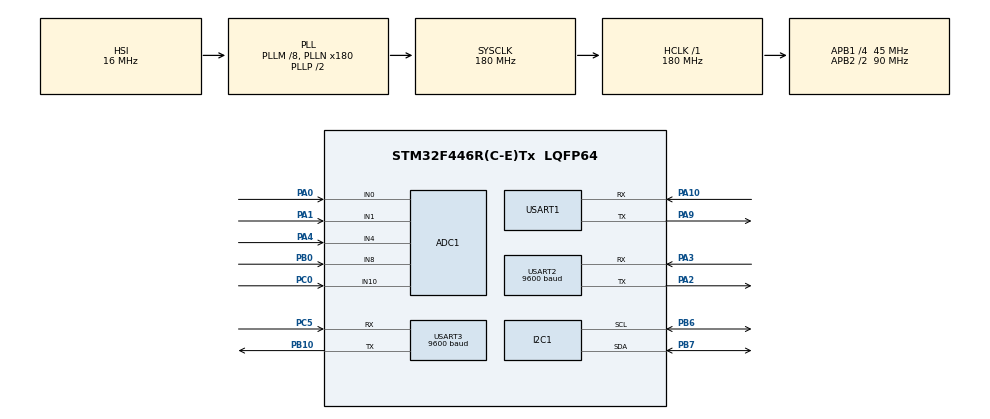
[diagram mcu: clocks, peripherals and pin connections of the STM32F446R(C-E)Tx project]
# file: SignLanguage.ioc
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ADC1.Channel-0\#ChannelRegularConversion=ADC_CHANNEL_0
ADC1.Channel-1\#ChannelRegularConversion=ADC_CHANNEL_1
ADC1.Channel-2\#ChannelRegularConversion=ADC_CHANNEL_4
ADC1.Channel-3\#ChannelRegularConversion=ADC_CHANNEL_8
ADC1.Channel-4\#ChannelRegularConversion=ADC_CHANNEL_10
ADC1.ContinuousConvMode=ENABLE
ADC1.EnableAnalogWatchDog=true
ADC1.InjNumberOfConversion=0
ADC1.NbrOfConversion=5
ADC1.NbrOfConversionFlag=1
ADC1.Rank-0\#ChannelRegularConversion=1
ADC1.Rank-1\#ChannelRegularConversion=2
ADC1.Rank-2\#ChannelRegularConversion=3
ADC1.Rank-3\#ChannelRegularConversion=4
ADC1.Rank-4\#ChannelRegularConversion=5
ADC1.SamplingTime-0\#ChannelRegularConversion=ADC_SAMPLETIME_3CYCLES
ADC1.SamplingTime-1\#ChannelRegularConversion=ADC_SAMPLETIME_3CYCLES
ADC1.SamplingTime-2\#ChannelRegularConversion=ADC_SAMPLETIME_3CYCLES
ADC1.SamplingTime-3\#ChannelRegularConversion=ADC_SAMPLETIME_3CYCLES
ADC1.SamplingTime-4\#ChannelRegularConversion=ADC_SAMPLETIME_3CYCLES
ADC1.ScanConvMode=ENABLE
ADC1.master=1
Dma.ADC1.0.Direction=DMA_PERIPH_TO_MEMORY
Dma.ADC1.0.FIFOMode=DMA_FIFOMODE_DISABLE
Dma.ADC1.0.Instance=DMA2_Stream0
Dma.ADC1.0.MemDataAlignment=DMA_MDATAALIGN_WORD
Dma.ADC1.0.MemInc=DMA_MINC_ENABLE
Dma.ADC1.0.Mode=DMA_CIRCULAR
Dma.ADC1.0.PeriphDataAlignment=DMA_PDATAALIGN_WORD
Dma.ADC1.0.PeriphInc=DMA_PINC_DISABLE
Dma.ADC1.0.Priority=DMA_PRIORITY_LOW
Dma.Request0=ADC1
Mcu.Family=STM32F4
Mcu.Name=STM32F446R(C-E)Tx
Mcu.Package=LQFP64
NVIC.DMA2_Stream0_IRQn=true\:0\:0\:false\:false\:true\:false\:true\:true
NVIC.PriorityGroup=NVIC_PRIORITYGROUP_4
PA0-WKUP.Signal=ADCx_IN0
PA1.Signal=ADCx_IN1
PA10.Mode=Asynchronous
PA10.Signal=USART1_RX
PA2.Mode=Asynchronous
PA2.Signal=USART2_TX
PA3.Mode=Asynchronous
PA3.Signal=USART2_RX
PA4.Signal=ADCx_IN4
PA9.Mode=Asynchronous
PA9.Signal=USART1_TX
PB0.Signal=ADCx_IN8
PB10.Mode=Asynchronous
PB10.Signal=USART3_TX
PB6.Mode=I2C
PB6.Signal=I2C1_SCL
PB7.Mode=I2C
PB7.Signal=I2C1_SDA
PC0.Signal=ADCx_IN10
PC5.Mode=Asynchronous
PC5.Signal=USART3_RX
ProjectManager.HeapSize=0x200
ProjectManager.StackSize=0x400
ProjectManager.TargetToolchain=STM32CubeIDE
RCC.AHBFreq_Value=180000000
RCC.APB1CLKDivider=RCC_HCLK_DIV4
RCC.APB1Freq_Value=45000000
RCC.APB1TimFreq_Value=90000000
RCC.APB2CLKDivider=RCC_HCLK_DIV2
RCC.APB2Freq_Value=90000000
RCC.APB2TimFreq_Value=180000000
RCC.CortexFreq_Value=180000000
RCC.HCLKFreq_Value=180000000
RCC.PLLM=8
RCC.PLLN=180
RCC.SYSCLKFreq_VALUE=180000000
RCC.SYSCLKSource=RCC_SYSCLKSOURCE_PLLCLK
RCC.USBFreq_Value=180000000
RCC.VCOOutputFreq_Value=360000000
SH.ADCx_IN0.0=ADC1_IN0,IN0
SH.ADCx_IN1.0=ADC1_IN1,IN1
SH.ADCx_IN10.0=ADC1_IN10,IN10
SH.ADCx_IN4.0=ADC1_IN4,IN4
SH.ADCx_IN8.0=ADC1_IN8,IN8
USART1.VirtualMode=VM_ASYNC
USART2.BaudRate=9600
USART2.VirtualMode=VM_ASYNC
USART3.BaudRate=9600
USART3.VirtualMode=VM_ASYNC
board=custom

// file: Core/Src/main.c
/* USER CODE BEGIN Header */
/**
  ******************************************************************************
  * @file           : main.c
  * @brief          : Main program body
  ******************************************************************************
  * @attention
  *
  * Copyright (c) 2026 STMicroelectronics.
  * All rights reserved.
  *
  * This software is licensed under terms that can be found in the LICENSE file
  * in the root directory of this software component.
  * If no LICENSE file comes with this software, it is provided AS-IS.
  *
  ******************************************************************************
  */
/* USER CODE END Header */
#include "main.h"

/* USER CODE BEGIN Includes */
#include <string.h>
#include <stdio.h>
#include <math.h>
/* USER CODE END Includes */

ADC_HandleTypeDef hadc1;
DMA_HandleTypeDef hdma_adc1;

I2C_HandleTypeDef hi2c1;

UART_HandleTypeDef huart1;
UART_HandleTypeDef huart2;
UART_HandleTypeDef huart3;

/* USER CODE BEGIN PV */

// ---- Flex sensor ADC buffer (5 channels via DMA) ----
uint32_t adc_buf[5];

// ---- MPU6050 raw accelerometer values ----
int16_t ax, ay, az;

// ---- AI input/output arrays ----
float ai_in[7];

// ---- Letter detection variables ----
char prev_letter = ' ';
uint32_t stable_start = 0;
uint8_t letter_sent = 0;

// ---- Word buffer ----
char word_buf[32];
uint8_t word_len = 0;

// ---- UART message buffer ----
char msg[160];

/* USER CODE END PV */

void SystemClock_Config(void);
static void MX_GPIO_Init(void);
static void MX_DMA_Init(void);
static void MX_ADC1_Init(void);
static void MX_I2C1_Init(void);
static void MX_USART1_UART_Init(void);
static void MX_USART2_UART_Init(void);
static void MX_USART3_UART_Init(void);
/* USER CODE BEGIN PFP */
void uart_print(const char *str);
/* USER CODE END PFP */

/* USER CODE BEGIN 0 */

// =============================================
// MPU6050 — Wake up (write 0x00 to PWR_MGMT_1)
// =============================================
void MPU6050_Init(void)
{
    uint8_t data = 0x00;
    HAL_I2C_Mem_Write(&hi2c1, 0x68 << 1, 0x6B,
                      I2C_MEMADD_SIZE_8BIT,
                      &data, 1, 100);
    HAL_Delay(100);
}

// =============================================
// MPU6050 — Read 6 bytes starting at 0x3B
// Fills ax, ay, az globals
// =============================================
void MPU6050_Read(void)
{
    uint8_t buf[6];
    HAL_I2C_Mem_Read(&hi2c1, 0x68 << 1, 0x3B,
                     I2C_MEMADD_SIZE_8BIT,
                     buf, 6, 100);
    ax = (int16_t)((buf[0] << 8) | buf[1]);
    ay = (int16_t)((buf[2] << 8) | buf[3]);
    az = (int16_t)((buf[4] << 8) | buf[5]);
}

// =============================================
// DFPlayer — Play track number (1 = A, 2 = B...)
// =============================================
void DFPlayer_Play(uint8_t track)
{
    uint8_t cmd[10];
    cmd[0] = 0x7E;
    cmd[1] = 0xFF;
    cmd[2] = 0x06;
    cmd[3] = 0x03;
    cmd[4] = 0x00;
    cmd[5] = 0x00;
    cmd[6] = track;

    int16_t checksum = 0;
    for (int i = 1; i <= 6; i++)
        checksum += cmd[i];
    checksum = -checksum;

    cmd[7] = (checksum >> 8) & 0xFF;
    cmd[8] = checksum & 0xFF;
    cmd[9] = 0xEF;

    HAL_UART_Transmit(&huart3, cmd, 10, 200);
}

// =============================================
// DFPlayer — Set volume (0 to 30)
// =============================================
void DFPlayer_SetVolume(uint8_t vol)
{
    uint8_t cmd[10];
    cmd[0] = 0x7E;
    cmd[1] = 0xFF;
    cmd[2] = 0x06;
    cmd[3] = 0x06;
    cmd[4] = 0x00;
    cmd[5] = 0x00;
    cmd[6] = vol;

    int16_t checksum = 0;
    for (int i = 1; i <= 6; i++)
        checksum += cmd[i];
    checksum = -checksum;

    cmd[7] = (checksum >> 8) & 0xFF;
    cmd[8] = checksum & 0xFF;
    cmd[9] = 0xEF;

    HAL_UART_Transmit(&huart3, cmd, 10, 200);
}

// =============================================
// BLE Send — sends string to HM-10 via UART2
// =============================================
void BLE_Send(const char *str)
{
    HAL_UART_Transmit(&huart2,
                      (uint8_t*)str,
                      strlen(str), 500);
}

// =============================================
// uart_print — sends debug string to PuTTY via UART2
// Open PuTTY: Serial, COM port, 9600 baud
// NOTE: Renamed from DEBUG to avoid conflict with
//       the -DDEBUG compiler flag set by STM32CubeIDE
// =============================================
void uart_print(const char *str)
{
    HAL_UART_Transmit(&huart2,
                      (uint8_t*)str,
                      strlen(str), 500);
}

// =============================================
// SIMPLE THRESHOLD GESTURE DETECT
// =============================================
char Simple_Predict(void)
{
    float f0 = adc_buf[0] / 4095.0f;  // Thumb
    float f1 = adc_buf[1] / 4095.0f;  // Index
    float f2 = adc_buf[2] / 4095.0f;  // Middle
    float f3 = adc_buf[3] / 4095.0f;  // Ring
    float f4 = adc_buf[4] / 4095.0f;  // Pinky

    // A — all fingers bent, thumb to side
    if (f0 < 0.4f && f1 > 0.7f && f2 > 0.7f &&
        f3 > 0.7f && f4 > 0.7f)
        return 'A';

    // B — all fingers up straight, thumb bent
    if (f0 > 0.7f && f1 < 0.3f && f2 < 0.3f &&
        f3 < 0.3f && f4 < 0.3f)
        return 'B';

    // C — all fingers curved
    if (f0 < 0.6f && f1 < 0.6f && f2 < 0.6f &&
        f3 < 0.6f && f4 < 0.6f &&
        f0 > 0.2f && f1 > 0.2f)
        return 'C';

    // D — index up, others bent
    if (f1 < 0.3f && f2 > 0.7f &&
        f3 > 0.7f && f4 > 0.7f)
        return 'D';

    return '?';
}

/* USER CODE END 0 */

int main(void)
{

  HAL_Init();

  SystemClock_Config();

  MX_GPIO_Init();
  MX_DMA_Init();
  MX_ADC1_Init();
  MX_I2C1_Init();
  MX_USART1_UART_Init();
  MX_USART2_UART_Init();
  MX_USART3_UART_Init();

  /* USER CODE BEGIN 2 */

  MPU6050_Init();
  HAL_ADC_Start_DMA(&hadc1, adc_buf, 5);
  HAL_Delay(1500);
  DFPlayer_SetVolume(25);
  HAL_Delay(200);

  // ---- Startup messages — visible in PuTTY ----
  uart_print("=== SignLang Boot OK ===\r\n");
  uart_print("Flex 0-4 | Ax Ay Az | Letter\r\n");
  uart_print("-------------------------------\r\n");

  /* USER CODE END 2 */

  /* Infinite loop */
  while (1)
  {
    /* USER CODE BEGIN WHILE */

    prev_letter = ' ';
    stable_start = HAL_GetTick();
    letter_sent = 0;
    word_len = 0;
    memset(word_buf, 0, sizeof(word_buf));

    while (1)
    {
        // ---- Read MPU6050 ----
        MPU6050_Read();

        // ---- Print all sensor values to PuTTY ----
        sprintf(msg,
            "F:%4lu %4lu %4lu %4lu %4lu | "
            "A:%6d %6d %6d\r\n",
            adc_buf[0], adc_buf[1], adc_buf[2],
            adc_buf[3], adc_buf[4],
            ax, ay, az);
        uart_print(msg);

        // ---- Run gesture prediction ----
        char letter = Simple_Predict();

        // ---- Stability check: same sign held 400ms ----
        if (letter != prev_letter)
        {
            prev_letter = letter;
            stable_start = HAL_GetTick();
            letter_sent = 0;
        }

        if (!letter_sent &&
            letter != '?' &&
            (HAL_GetTick() - stable_start) > 400)
        {
            letter_sent = 1;

            // --- 1. Print detected letter to PuTTY ---
            sprintf(msg, ">>> LETTER: %c\r\n", letter);
            uart_print(msg);

            // --- 2. Play audio on speaker ---
            DFPlayer_Play(letter - 'A' + 1);

            // --- 3. Send letter over BLE to phone ---
            sprintf(msg, "Letter: %c\r\n", letter);
            BLE_Send(msg);

            // --- 4. Build word buffer ---
            if (word_len < 31)
            {
                word_buf[word_len] = letter;
                word_len++;
                word_buf[word_len] = '\0';
            }

            // Print current word to PuTTY
            sprintf(msg, "    Word so far: [%s]\r\n", word_buf);
            uart_print(msg);

            // Send word to BLE phone
            sprintf(msg, "Word: %s\r\n", word_buf);
            BLE_Send(msg);
        }

        // ---- USER BUTTON on PC13 = confirm word ----
        if (HAL_GPIO_ReadPin(GPIOC, GPIO_PIN_13) == GPIO_PIN_RESET)
        {
            if (word_len > 0)
            {
                sprintf(msg,
                    "\r\n=== WORD CONFIRMED: [%s] ===\r\n\r\n",
                    word_buf);
                uart_print(msg);

                sprintf(msg, "DONE: %s\r\n", word_buf);
                BLE_Send(msg);
            }

            memset(word_buf, 0, sizeof(word_buf));
            word_len = 0;

            HAL_Delay(500);
        }

        HAL_Delay(50);
    }

    /* USER CODE END WHILE */
  }
}

void SystemClock_Config(void)
{
  RCC_OscInitTypeDef RCC_OscInitStruct = {0};
  RCC_ClkInitTypeDef RCC_ClkInitStruct = {0};

  __HAL_RCC_PWR_CLK_ENABLE();
  __HAL_PWR_VOLTAGESCALING_CONFIG(PWR_REGULATOR_VOLTAGE_SCALE1);

  RCC_OscInitStruct.OscillatorType = RCC_OSCILLATORTYPE_HSI;
  RCC_OscInitStruct.HSIState = RCC_HSI_ON;
  RCC_OscInitStruct.HSICalibrationValue = RCC_HSICALIBRATION_DEFAULT;
  RCC_OscInitStruct.PLL.PLLState = RCC_PLL_ON;
  RCC_OscInitStruct.PLL.PLLSource = RCC_PLLSOURCE_HSI;
  RCC_OscInitStruct.PLL.PLLM = 8;
  RCC_OscInitStruct.PLL.PLLN = 180;
  RCC_OscInitStruct.PLL.PLLP = RCC_PLLP_DIV2;
  RCC_OscInitStruct.PLL.PLLQ = 2;
  RCC_OscInitStruct.PLL.PLLR = 2;
  if (HAL_RCC_OscConfig(&RCC_OscInitStruct) != HAL_OK)
  {
    Error_Handler();
  }

  if (HAL_PWREx_EnableOverDrive() != HAL_OK)
  {
    Error_Handler();
  }

  RCC_ClkInitStruct.ClockType = RCC_CLOCKTYPE_HCLK|RCC_CLOCKTYPE_SYSCLK
                              |RCC_CLOCKTYPE_PCLK1|RCC_CLOCKTYPE_PCLK2;
  RCC_ClkInitStruct.SYSCLKSource = RCC_SYSCLKSOURCE_PLLCLK;
  RCC_ClkInitStruct.AHBCLKDivider = RCC_SYSCLK_DIV1;
  RCC_ClkInitStruct.APB1CLKDivider = RCC_HCLK_DIV4;
  RCC_ClkInitStruct.APB2CLKDivider = RCC_HCLK_DIV2;

  if (HAL_RCC_ClockConfig(&RCC_ClkInitStruct, FLASH_LATENCY_5) != HAL_OK)
  {
    Error_Handler();
  }
}

static void MX_ADC1_Init(void)
{
  ADC_AnalogWDGConfTypeDef AnalogWDGConfig = {0};
  ADC_ChannelConfTypeDef sConfig = {0};

  hadc1.Instance = ADC1;
  hadc1.Init.ClockPrescaler = ADC_CLOCK_SYNC_PCLK_DIV4;
  hadc1.Init.Resolution = ADC_RESOLUTION_12B;
  hadc1.Init.ScanConvMode = ENABLE;
  hadc1.Init.ContinuousConvMode = ENABLE;
  hadc1.Init.DiscontinuousConvMode = DISABLE;
  hadc1.Init.ExternalTrigConvEdge = ADC_EXTERNALTRIGCONVEDGE_NONE;
  hadc1.Init.ExternalTrigConv = ADC_SOFTWARE_START;
  hadc1.Init.DataAlign = ADC_DATAALIGN_RIGHT;
  hadc1.Init.NbrOfConversion = 5;
  hadc1.Init.DMAContinuousRequests = DISABLE;
  hadc1.Init.EOCSelection = ADC_EOC_SINGLE_CONV;
  if (HAL_ADC_Init(&hadc1) != HAL_OK)
  {
    Error_Handler();
  }

  AnalogWDGConfig.WatchdogMode = ADC_ANALOGWATCHDOG_SINGLE_REG;
  AnalogWDGConfig.HighThreshold = 0;
  AnalogWDGConfig.LowThreshold = 0;
  AnalogWDGConfig.Channel = ADC_CHANNEL_0;
  AnalogWDGConfig.ITMode = DISABLE;
  if (HAL_ADC_AnalogWDGConfig(&hadc1, &AnalogWDGConfig) != HAL_OK)
  {
    Error_Handler();
  }

  sConfig.Channel = ADC_CHANNEL_0;
  sConfig.Rank = 1;
  sConfig.SamplingTime = ADC_SAMPLETIME_3CYCLES;
  if (HAL_ADC_ConfigChannel(&hadc1, &sConfig) != HAL_OK)
  {
    Error_Handler();
  }

  sConfig.Channel = ADC_CHANNEL_1;
  sConfig.Rank = 2;
  if (HAL_ADC_ConfigChannel(&hadc1, &sConfig) != HAL_OK)
  {
    Error_Handler();
  }

  sConfig.Channel = ADC_CHANNEL_4;
  sConfig.Rank = 3;
  if (HAL_ADC_ConfigChannel(&hadc1, &sConfig) != HAL_OK)
  {
    Error_Handler();
  }

  sConfig.Channel = ADC_CHANNEL_8;
  sConfig.Rank = 4;
  if (HAL_ADC_ConfigChannel(&hadc1, &sConfig) != HAL_OK)
  {
    Error_Handler();
  }

  sConfig.Channel = ADC_CHANNEL_10;
  sConfig.Rank = 5;
  if (HAL_ADC_ConfigChannel(&hadc1, &sConfig) != HAL_OK)
  {
    Error_Handler();
  }
}

static void MX_I2C1_Init(void)
{
  hi2c1.Instance = I2C1;
  hi2c1.Init.ClockSpeed = 100000;
  hi2c1.Init.DutyCycle = I2C_DUTYCYCLE_2;
  hi2c1.Init.OwnAddress1 = 0;
  hi2c1.Init.AddressingMode = I2C_ADDRESSINGMODE_7BIT;
  hi2c1.Init.DualAddressMode = I2C_DUALADDRESS_DISABLE;
  hi2c1.Init.OwnAddress2 = 0;
  hi2c1.Init.GeneralCallMode = I2C_GENERALCALL_DISABLE;
  hi2c1.Init.NoStretchMode = I2C_NOSTRETCH_DISABLE;
  if (HAL_I2C_Init(&hi2c1) != HAL_OK)
  {
    Error_Handler();
  }
}

static void MX_USART1_UART_Init(void)
{
  huart1.Instance = USART1;
  huart1.Init.BaudRate = 115200;
  huart1.Init.WordLength = UART_WORDLENGTH_8B;
  huart1.Init.StopBits = UART_STOPBITS_1;
  huart1.Init.Parity = UART_PARITY_NONE;
  huart1.Init.Mode = UART_MODE_TX_RX;
  huart1.Init.HwFlowCtl = UART_HWCONTROL_NONE;
  huart1.Init.OverSampling = UART_OVERSAMPLING_16;
  if (HAL_UART_Init(&huart1) != HAL_OK)
  {
    Error_Handler();
  }
}

static void MX_USART2_UART_Init(void)
{
  huart2.Instance = USART2;
  huart2.Init.BaudRate = 115200;
  huart2.Init.WordLength = UART_WORDLENGTH_8B;
  huart2.Init.StopBits = UART_STOPBITS_1;
  huart2.Init.Parity = UART_PARITY_NONE;
  huart2.Init.Mode = UART_MODE_TX_RX;
  huart2.Init.HwFlowCtl = UART_HWCONTROL_NONE;
  huart2.Init.OverSampling = UART_OVERSAMPLING_16;
  if (HAL_UART_Init(&huart2) != HAL_OK)
  {
    Error_Handler();
  }
}

static void MX_USART3_UART_Init(void)
{
  huart3.Instance = USART3;
  huart3.Init.BaudRate = 9600;
  huart3.Init.WordLength = UART_WORDLENGTH_8B;
  huart3.Init.StopBits = UART_STOPBITS_1;
  huart3.Init.Parity = UART_PARITY_NONE;
  huart3.Init.Mode = UART_MODE_TX_RX;
  huart3.Init.HwFlowCtl = UART_HWCONTROL_NONE;
  huart3.Init.OverSampling = UART_OVERSAMPLING_16;
  if (HAL_UART_Init(&huart3) != HAL_OK)
  {
    Error_Handler();
  }
}

static void MX_DMA_Init(void)
{
  __HAL_RCC_DMA2_CLK_ENABLE();
  HAL_NVIC_SetPriority(DMA2_Stream0_IRQn, 0, 0);
  HAL_NVIC_EnableIRQ(DMA2_Stream0_IRQn);
}

static void MX_GPIO_Init(void)
{
  __HAL_RCC_GPIOC_CLK_ENABLE();
  __HAL_RCC_GPIOA_CLK_ENABLE();
  __HAL_RCC_GPIOB_CLK_ENABLE();
}

void Error_Handler(void)
{
  __disable_irq();
  while (1)
  {
  }
}
